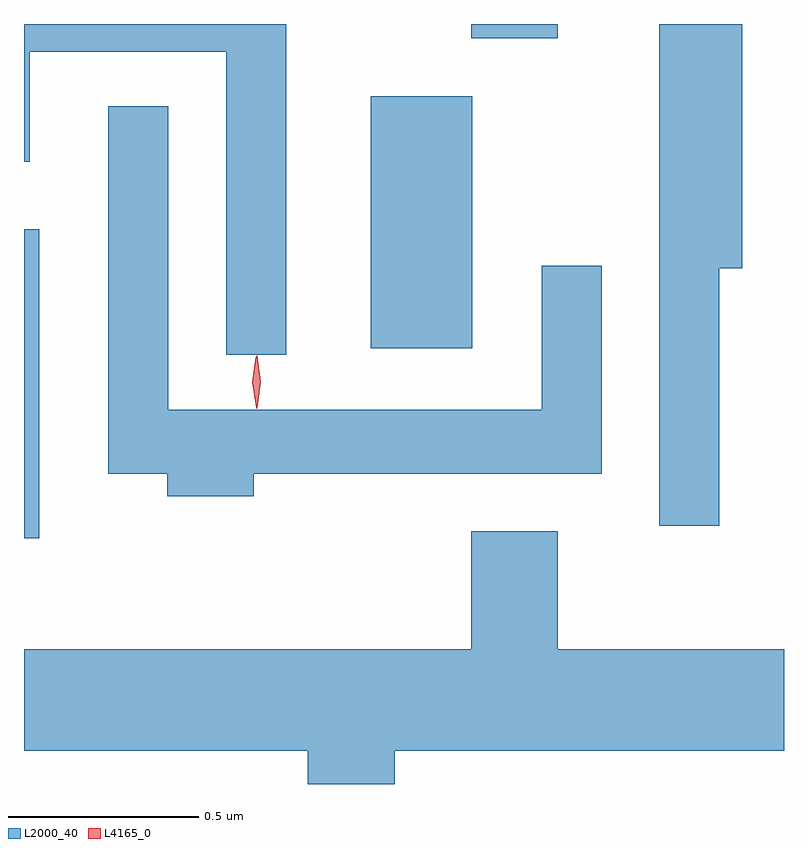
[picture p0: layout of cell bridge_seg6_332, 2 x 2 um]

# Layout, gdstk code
import gdstk
lib = gdstk.Library(unit=1e-6, precision=1e-09)
def R(c, l, rs):  # rectangles x0, y0, x1, y1
    for r in rs: c.add(gdstk.rectangle(r[:2], r[2:], *l))
def P(c, l, *ps):  # polygons
    for p in ps: c.add(gdstk.Polygon(p, *l))
L2000_40 = (2000, 40)
L4165_0 = (4165, 0)

bridge_seg6_332 = lib.new_cell('bridge_seg6_332')
R(bridge_seg6_332, L2000_40, [(1317.314,1539.496,1317.354,1540.309), (1318.226,1539.996,1318.494,1540.659), (1318.491,1540.811,1318.719,1540.849)])
P(bridge_seg6_332, L2000_40, [(1318.004,1540.849),(1317.314,1540.849),(1317.314,1540.486),(1317.329,1540.486),(1317.329,1540.776),(1317.846,1540.776),(1317.846,1539.978),(1318.004,1539.978)],
  [(1319.144,1540.206),(1319.204,1540.206),(1319.204,1540.849),(1318.986,1540.849),(1318.986,1539.528),(1319.144,1539.528)],
  [(1317.919,1539.666),(1318.834,1539.666),(1318.834,1540.213),(1318.676,1540.213),(1318.676,1539.834),(1317.694,1539.834),(1317.694,1540.633),(1317.536,1540.633),(1317.536,1539.666),(1317.691,1539.666),(1317.691,1539.606),(1317.919,1539.606)],
  [(1318.289,1538.936),(1319.314,1538.936),(1319.314,1539.204),(1318.719,1539.204),(1318.719,1539.514),(1318.491,1539.514),(1318.491,1539.204),(1317.314,1539.204),(1317.314,1538.936),(1318.061,1538.936),(1318.061,1538.849),(1318.289,1538.849)])
P(bridge_seg6_332, L4165_0, [(1317.927,1539.837),(1317.927,1539.838),(1317.917,1539.907),(1317.927,1539.976),(1317.927,1539.976),(1317.928,1539.976),(1317.937,1539.907),(1317.928,1539.838)],
  [(1317.925,1539.839),(1317.925,1539.84),(1317.915,1539.906),(1317.924,1539.972),(1317.925,1539.973),(1317.926,1539.972),(1317.935,1539.906),(1317.926,1539.84)])

lib.write_gds('bridge_seg6_332.gds')
